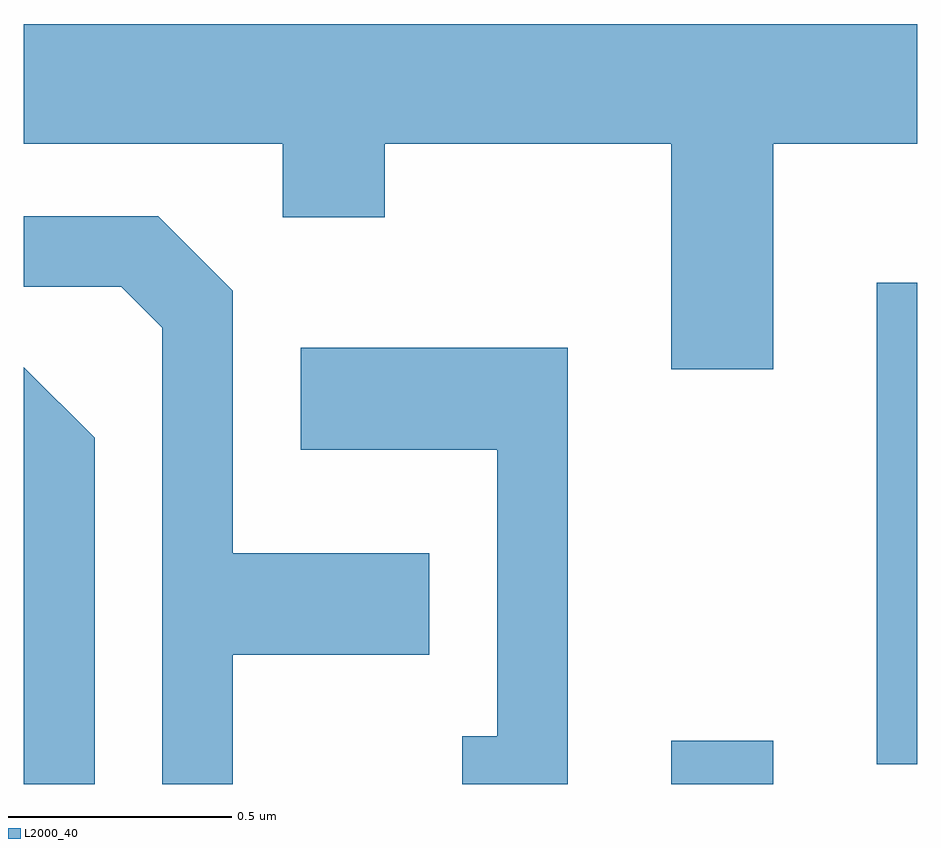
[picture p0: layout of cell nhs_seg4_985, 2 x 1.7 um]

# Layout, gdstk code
import gdstk
lib = gdstk.Library(unit=1e-6, precision=1e-09)
def R(c, l, rs):  # rectangles x0, y0, x1, y1
    for r in rs: c.add(gdstk.rectangle(r[:2], r[2:], *l))
def P(c, l, *ps):  # polygons
    for p in ps: c.add(gdstk.Polygon(p, *l))
L2000_40 = (2000, 40)

nhs_seg4_985 = lib.new_cell('nhs_seg4_985')
R(nhs_seg4_985, L2000_40, [(194.061,1279.982,194.289,1280.079), (194.521,1280.026,194.611,1281.104)])
P(nhs_seg4_985, L2000_40, [(194.289,1281.416),(194.611,1281.416),(194.611,1281.684),(192.611,1281.684),(192.611,1281.416),(193.191,1281.416),(193.191,1281.251),(193.419,1281.251),(193.419,1281.416),(194.061,1281.416),(194.061,1280.911),(194.289,1280.911)],
  [(193.079,1280.271),(193.519,1280.271),(193.519,1280.499),(193.079,1280.499),(193.079,1281.087),(192.912,1281.254),(192.611,1281.254),(192.611,1281.096),(192.829,1281.096),(192.921,1281.004),(192.921,1279.982),(193.079,1279.982)],
  [(193.829,1280.959),(193.231,1280.959),(193.231,1280.731),(193.671,1280.731),(193.671,1280.089),(193.593,1280.089),(193.593,1279.982),(193.829,1279.982)],
  [(192.769,1280.757),(192.611,1280.915),(192.611,1279.982),(192.769,1279.982)])

lib.write_gds('nhs_seg4_985.gds')
